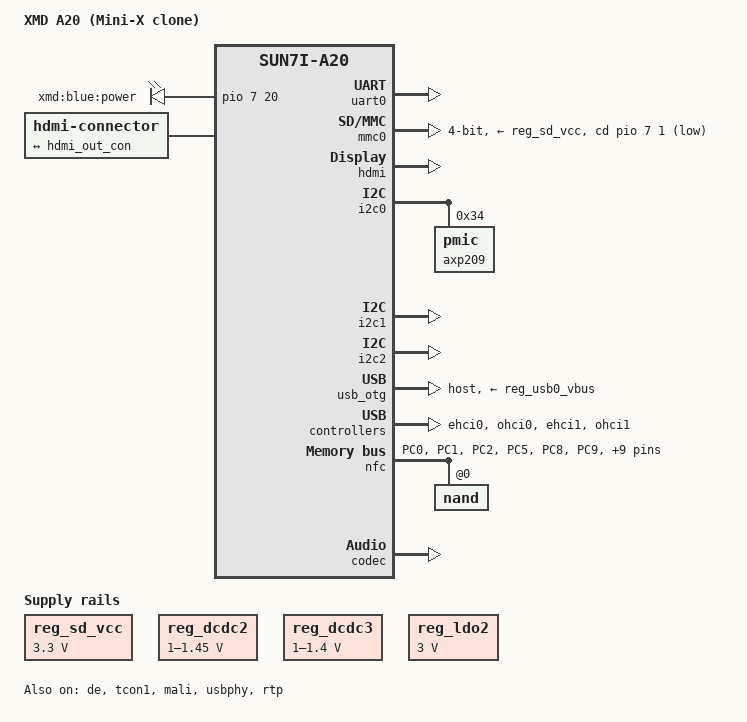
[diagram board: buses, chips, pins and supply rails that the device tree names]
/dts-v1/;
#include "sun7i-a20.dtsi"
#include "sunxi-common-regulators.dtsi"
#include <dt-bindings/gpio/gpio.h>
#include <dt-bindings/interrupt-controller/irq.h>

/*
 * XMD A20 V1.1 Board (Mini-X clone)
 * Allwinner sun7i-a20 dual-core Cortex-A7 SoC
 */

/ {
	model = "XMD A20 (Mini-X clone)";
	compatible = "xmd,a20-mini-x", "allwinner,sun7i-a20";

	aliases {
		serial0 = &uart0;
	};

	chosen {
		stdout-path = "serial0:115200n8";
	};

	leds {
		compatible = "gpio-leds";

		led0: power {
			label = "xmd:blue:power";
			gpios = <&pio 7 20 GPIO_ACTIVE_HIGH>; /* PH20 */
			linux,default-trigger = "heartbeat";
		};
	};

	/* microSD card 3.3V regulator */
	reg_sd_vcc: mmc0-3v3 {
		compatible = "regulator-fixed";
		regulator-name = "mmc0-3v3";
		regulator-min-microvolt = <3300000>;
		regulator-max-microvolt = <3300000>;
		regulator-boot-on;
	};

	/* HDMI connector for display output */
	hdmi-connector {
		compatible = "hdmi-connector";
		type = "a";

		port {
			hdmi_con_in: endpoint {
				remote-endpoint = <&hdmi_out_con>;
			};
		};
	};
};

/*
 * Serial Console (UART0 on PB22/PB23)
 */
&uart0 {
	pinctrl-names = "default";
	pinctrl-0 = <&uart0_pb_pins>;
	status = "okay";
};

/*
 * microSD Card Slot (MMC0)
 */
&mmc0 {
	bus-width = <4>;
	cd-gpios = <&pio 7 1 GPIO_ACTIVE_LOW>; /* Card detect: PH1 */
	vmmc-supply = <&reg_sd_vcc>;
	status = "okay";
};

/*
 * Disabled Peripherals
 */
&gmac { status = "disabled"; };  /* Ethernet controller not present */
&ir0  { status = "disabled"; };  /* IR receiver not present */
&ir1  { status = "disabled"; };  /* IR receiver not present */

/*
 * Display Pipeline (HDMI Output)
 */
&de    { status = "okay"; };
&tcon1 { status = "okay"; };

&hdmi {
	status = "okay";
	allwinner,force-hpd;  /* Force hotplug detection */
};

&hdmi_out {
	hdmi_out_con: endpoint {
		remote-endpoint = <&hdmi_con_in>;
	};
};

/*
 * I2C Buses
 */

/* I2C0 with AXP209 PMIC at address 0x34 */
&i2c0 {
	status = "okay";

	axp209: pmic@34 {
		reg = <0x34>;
		interrupt-parent = <&nmi_intc>;
		interrupts = <0 IRQ_TYPE_LEVEL_LOW>;
	};
};

/* I2C1 for future peripherals */
&i2c1 { status = "okay"; };

/* I2C2 for additional peripherals */
&i2c2 { status = "okay"; };

/*
 * Graphics and Video
 */

/* Mali-400 GPU for 3D graphics acceleration */
&mali { status = "okay"; };

/* Note: Video Engine (VE) hardware decoder/encoder exists at 0x01c0e000
 * but cannot be enabled via DTS (no label in sun7i-a20.dtsi).
 * Kernel driver will probe it automatically if CONFIG_VIDEO_SUNXI_CEDRUS is enabled.
 */

/*
 * USB Configuration
 */
&usbphy {
	status = "okay";
	/* OTG port ID and VBUS detection GPIOs */
	usb0_id_det-gpios   = <&pio 7 4 GPIO_ACTIVE_HIGH>; /* PH4 */
	usb0_vbus_det-gpios = <&pio 7 5 GPIO_ACTIVE_HIGH>; /* PH5 */
	/* VBUS power supplies for each USB PHY */
	usb0_vbus-supply = <&reg_usb0_vbus>;
	usb1_vbus-supply = <&reg_usb1_vbus>;
	usb2_vbus-supply = <&reg_usb2_vbus>;
};

/* OTG port configured as USB host */
&usb_otg {
	status = "okay";
	dr_mode = "host";
	vbus-supply = <&reg_usb0_vbus>;
	vcc-supply  = <&reg_usb0_vbus>;
};

/* USB host controllers (EHCI/OHCI pairs) */
&ehci0 { status = "okay"; };
&ohci0 { status = "okay"; };
&ehci1 { status = "okay"; };
&ohci1 { status = "okay"; };

/*
 * Temperature Sensor
 */
&rtp { status = "okay"; };

/*
 * NAND Flash (Hardware ECC)
 * Note: Requires CONFIG_MTD_NAND_ECC_SW_BCH=y for soft_bch mode
 */
&nfc {
	pinctrl-names = "default";
	pinctrl-0 = <&nand_pins_a>, <&nand_cs0_pins_a>, <&nand_rb0_pins_a>;
	status = "okay";

	nand@0 {
		reg = <0>;
		#address-cells = <2>;
		#size-cells = <2>;
		allwinner,rb = <0>;
		nand-ecc-mode = "hw";
		nand-ecc-step-size = <1024>;
		nand-ecc-strength = <24>;
		nand-on-flash-bbt;

		/* Bootloader partition (1MB at offset 16MB) */
		bootloader@1000000 {
			label = "bootloader";
			reg = /bits/ 64 <0x01000000 0x00100000>;
			read-only;
		};

		/* Boot environment partition (256KB) */
		boot@1100000 {
			label = "boot";
			reg = /bits/ 64 <0x01100000 0x00040000>;
			read-only;
		};

		/* Kernel and root filesystem (remaining space) */
		linux@1140000 {
			label = "linux";
			reg = /bits/ 64 <0x01140000 0>;
			read-only;
		};
	};
};

/*
 * GPIO Pin Configuration
 */
&pio {
	/* PIO bank voltage supplies */
	vcc-pb-supply = <&reg_vcc3v3>;
	vcc-pc-supply = <&reg_vcc3v3>;
	vcc-pf-supply = <&reg_vcc3v3>;
	vcc-ph-supply = <&reg_vcc3v3>;
	vcc-pi-supply = <&reg_vcc3v3>;

	/* NAND flash pin configurations */
	nand_pins_a: nand-base0 {
		pins = "PC0", "PC1", "PC2", "PC5",
		       "PC8", "PC9", "PC10", "PC11",
		       "PC12", "PC13", "PC14", "PC15", "PC16";
		function = "nand0";
		drive-strength = <10>;
		bias-disable;
	};

	nand_cs0_pins_a: nand-cs {
		pins = "PC4";
		function = "nand0";
		drive-strength = <10>;
		bias-disable;
	};

	nand_rb0_pins_a: nand-rb {
		pins = "PC6";
		function = "nand0";
		drive-strength = <10>;
		bias-disable;
	};
};

/*
 * On-chip Audio Codec
 */
&codec { status = "okay"; };

/*
 * OTG SRAM (required by MUSB controller in host mode)
 */
&otg_sram { status = "okay"; };

/*
 * USB VBUS Regulators (from sunxi-common-regulators.dtsi)
 */
&reg_usb0_vbus { status = "okay"; };
&reg_usb1_vbus { status = "okay"; };
&reg_usb2_vbus { status = "okay"; };

/*
 * AXP209 PMIC Configuration
 */
#include "axp209.dtsi"

&ac_power_supply { status = "okay"; };

/* DCDC2: CPU core voltage (1.0-1.45V) */
&reg_dcdc2 {
	regulator-always-on;
	regulator-min-microvolt = <1000000>;
	regulator-max-microvolt = <1450000>;
	regulator-name = "vdd-cpu";
};

/* DCDC3: Internal/DDR voltage (1.0-1.4V) */
&reg_dcdc3 {
	regulator-always-on;
	regulator-min-microvolt = <1000000>;
	regulator-max-microvolt = <1400000>;
	regulator-name = "vdd-int-dll";
};

/* LDO1: RTC voltage */
&reg_ldo1 {
	regulator-name = "vdd-rtc";
};

/* LDO2: Analog voltage (3.0V) */
&reg_ldo2 {
	regulator-always-on;
	regulator-min-microvolt = <3000000>;
	regulator-max-microvolt = <3000000>;
	regulator-name = "avcc";
};

/*
 * CPU Voltage Supply (for DVFS support)
 * Thermal throttling at 75°C, critical shutdown at 100°C (from sun7i-a20.dtsi)
 * Default operating points: 960/912/864/720/528/312/144 MHz with voltage scaling
 */
&cpu0 {
	cpu-supply = <&reg_dcdc2>;
};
